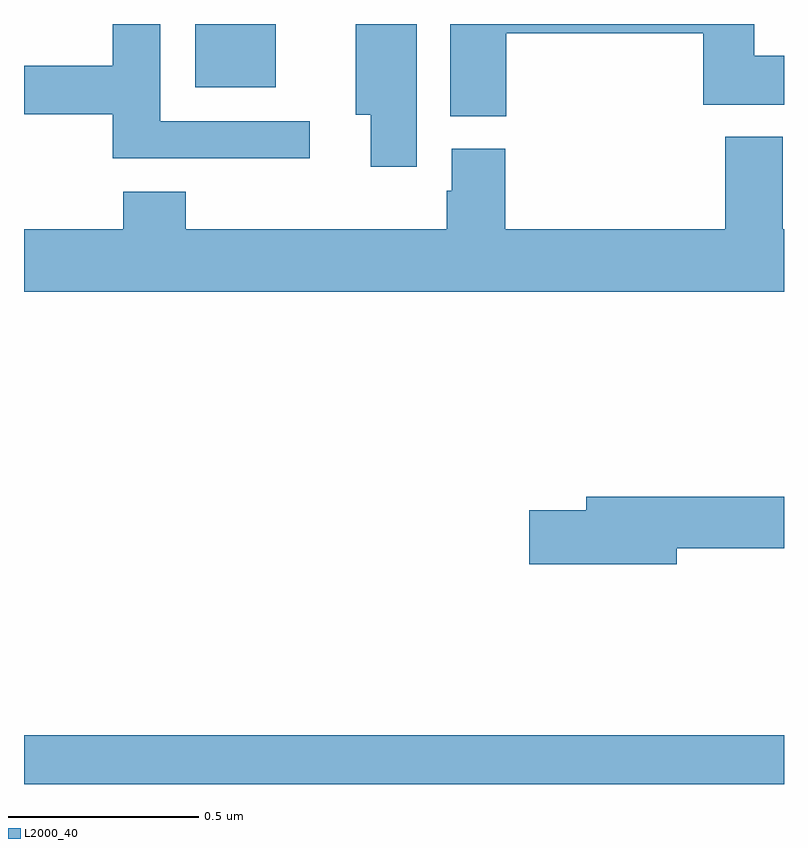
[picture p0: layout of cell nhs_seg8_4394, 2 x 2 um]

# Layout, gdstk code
import gdstk
lib = gdstk.Library(unit=1e-6, precision=1e-09)
def R(c, l, rs):  # rectangles x0, y0, x1, y1
    for r in rs: c.add(gdstk.rectangle(r[:2], r[2:], *l))
def P(c, l, *ps):  # polygons
    for p in ps: c.add(gdstk.Polygon(p, *l))
L2000_40 = (2000, 40)

nhs_seg8_4394 = lib.new_cell('nhs_seg8_4394')
R(nhs_seg8_4394, L2000_40, [(170,1085.9,172,1086.028), (170.45,1087.733,170.662,1087.9)])
P(nhs_seg8_4394, L2000_40, [(171.034,1087.9),(170.873,1087.9),(170.873,1087.661),(170.912,1087.661),(170.912,1087.524),(171.034,1087.524)],
  [(170.752,1087.644),(170.359,1087.644),(170.359,1087.9),(170.234,1087.9),(170.234,1087.79),(170,1087.79),(170,1087.662),(170.234,1087.662),(170.234,1087.547),(170.752,1087.547)],
  [(171.269,1087.876),(171.788,1087.876),(171.788,1087.688),(172,1087.688),(172,1087.816),(171.922,1087.816),(171.922,1087.9),(171.122,1087.9),(171.122,1087.657),(171.269,1087.657)],
  [(172,1087.36),(171.997,1087.36),(171.997,1087.603),(171.845,1087.603),(171.845,1087.36),(171.266,1087.36),(171.266,1087.572),(171.125,1087.572),(171.125,1087.461),(171.113,1087.461),(171.113,1087.36),(170.426,1087.36),(170.426,1087.459),(170.261,1087.459),(170.261,1087.36),(170,1087.36),(170,1087.196),(172,1087.196)],
  [(171.718,1086.52),(172,1086.52),(172,1086.656),(171.479,1086.656),(171.479,1086.62),(171.33,1086.62),(171.33,1086.478),(171.718,1086.478)])

lib.write_gds('nhs_seg8_4394.gds')
